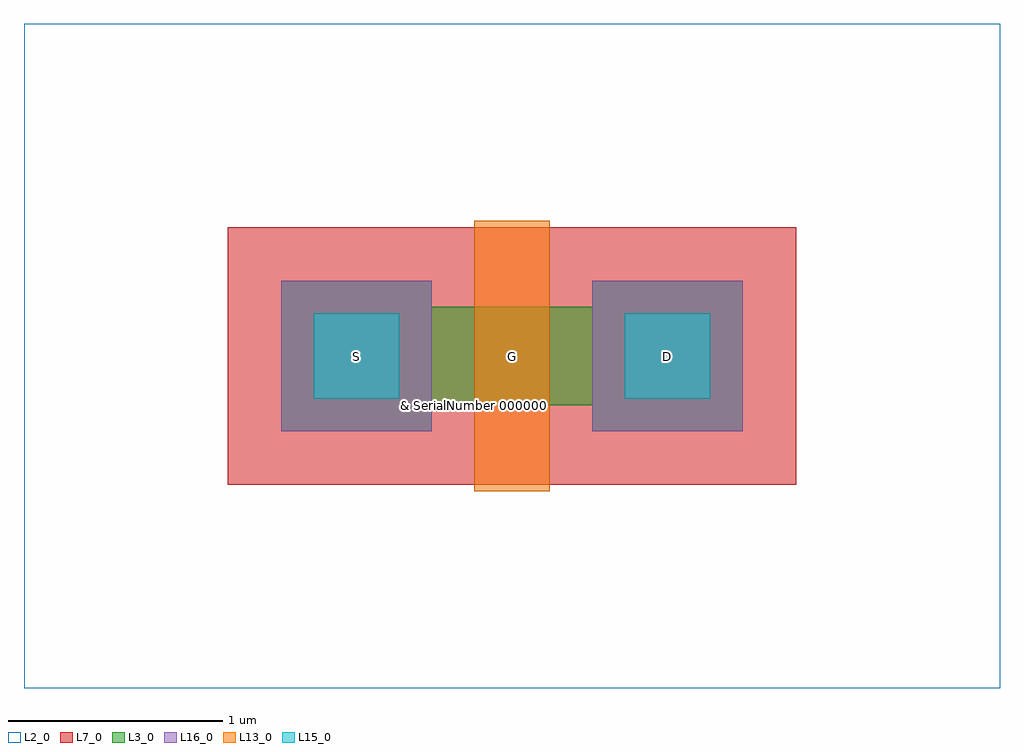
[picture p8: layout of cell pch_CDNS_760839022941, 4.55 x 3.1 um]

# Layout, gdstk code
import gdstk
lib = gdstk.Library(unit=1e-6, precision=1e-09)
def R(c, l, rs):  # rectangles x0, y0, x1, y1
    for r in rs: c.add(gdstk.rectangle(r[:2], r[2:], *l))
L2_0 = (2, 0)
L3_0 = (3, 0)
L7_0 = (7, 0)
L13_0 = (13, 0)
L15_0 = (15, 0)
L16_0 = (16, 0)

pch_cdns_760839022941 = lib.new_cell('pch_CDNS_760839022941')
R(pch_cdns_760839022941, L2_0, [(-2.1,-1.32,2.45,1.78)])
R(pch_cdns_760839022941, L3_0, [(-0.9,-0.12,-0.2,0.58), (0.55,-0.12,1.25,0.58), (-0.9,0,-0.2,0.46), (-0.2,0,0.55,0.46), (0.55,0,1.25,0.46)])
R(pch_cdns_760839022941, L7_0, [(-1.15,-0.37,1.5,0.83)])
R(pch_cdns_760839022941, L13_0, [(0,-0.4,0.35,0.86)])
R(pch_cdns_760839022941, L15_0, [(-0.75,0.03,-0.35,0.43), (0.7,0.03,1.1,0.43)])
R(pch_cdns_760839022941, L16_0, [(-0.9,-0.12,-0.2,0.58), (0.55,-0.12,1.25,0.58)])
pch_cdns_760839022941.add(gdstk.Label('D', (0.9,0.23), layer=59, texttype=0))
pch_cdns_760839022941.add(gdstk.Label('S', (-0.55,0.23), layer=59, texttype=0))
pch_cdns_760839022941.add(gdstk.Label('G', (0.175,0.23), layer=59, texttype=0))
pch_cdns_760839022941.add(gdstk.Label('& SerialNumber 000000', (0,0), layer=16, texttype=0))
pch_cdns_760839022941.add(gdstk.Label('& Distributor VIS', (0,0), layer=16, texttype=0))
pch_cdns_760839022941.add(gdstk.Label('& Metric 1', (0,0), layer=16, texttype=0))
pch_cdns_760839022941.add(gdstk.Label('& Version    \t  1.7A', (0,0), layer=16, texttype=0))
pch_cdns_760839022941.add(gdstk.Label('& PDKName     vis35cv', (0,0), layer=16, texttype=0))
pch_cdns_760839022941.add(gdstk.Label('& Vendor VIS Corp.', (0,0), layer=16, texttype=0))
pch_cdns_760839022941.add(gdstk.Label('& SerialNumber 000000', (0,0), layer=63, texttype=63))
pch_cdns_760839022941.add(gdstk.Label('& Distributor VIS', (0,0), layer=63, texttype=63))
pch_cdns_760839022941.add(gdstk.Label('& Metric 1', (0,0), layer=63, texttype=63))
pch_cdns_760839022941.add(gdstk.Label('& Version    \t  1.7A', (0,0), layer=63, texttype=63))
pch_cdns_760839022941.add(gdstk.Label('& PDKName     vis35cv', (0,0), layer=63, texttype=63))
pch_cdns_760839022941.add(gdstk.Label('& Vendor VIS Corp.', (0,0), layer=63, texttype=63))

lib.write_gds('pch_CDNS_760839022941.gds')
